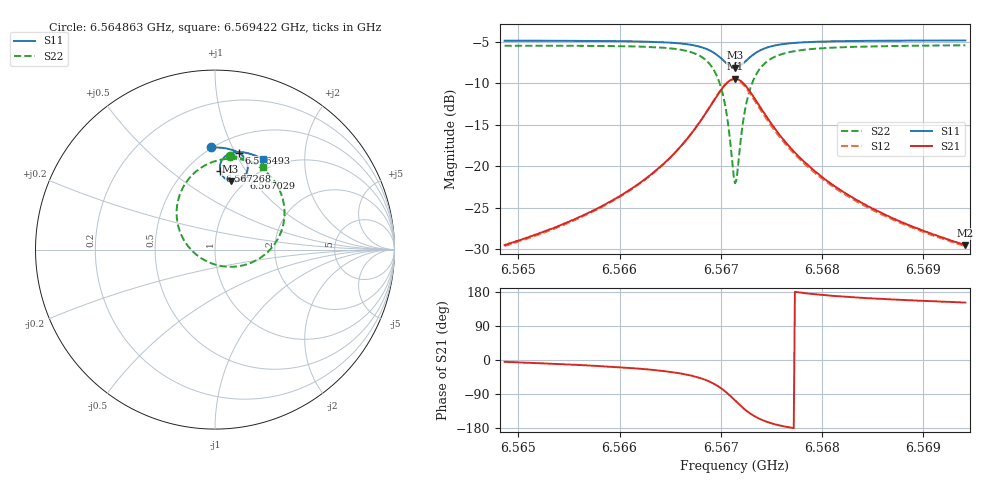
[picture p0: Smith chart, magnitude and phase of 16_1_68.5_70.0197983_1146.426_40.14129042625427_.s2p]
#  HZ  S  RI  R  50.00
! Rohde & Schwarz Vector Network Analyzer
! Rohde-Schwarz,ZNB20-2Port,1311601062101988,3.16
! Created: UTC 3/20/2024, 4:49:13 PM
! freq[Hz]  re:S11  im:S11  re:S21  im:S21  re:S12  im:S12  re:S22  im:S22
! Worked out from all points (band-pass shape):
!   401 points, 6.564863 GHz to 6.569422 GHz, reference 50 ohm
!   highest |S21| = -9.49 dB at 6.567142 GHz (marker M1); lowest = -29.5 dB at 6.569422 GHz (marker M2)
!   |S21| within 3 dB of the highest: 6.566914 GHz to 6.567371 GHz (456.1 kHz wide, 0.00694 % of centre)
!   lowest |S11| = -8.2 dB at 6.567142 GHz (marker M3), VSWR 2.28, Z = 43.3 + j38.9 ohm
!   |S11| at or under -10 dB: nowhere
!   |S22| runs from -22.1 to -5.5 dB; largest |S21 - S12| = 0.018
!   S11 on the Smith chart (normalised r, x): 6.564863 GHz: 0.49, +0.83; 6.566493 GHz: 0.67, +1.04; 6.567029 GHz: 0.94, +0.93; 6.567268 GHz: 0.71, +0.77; 6.569422 GHz: 0.86, +1.28
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6.5648634e9  -0.0219 0.5691  0.0333 -0.00282  0.0328 -0.00339  0.0838 0.5235
6.5656269e9  0.0432 0.5663  0.0486 -0.0116  0.0479 -0.0124  0.1641 0.5037
6.5660257e9  0.0811 0.5595  0.0633 -0.0226  0.0624 -0.0234  0.2185 0.4799
6.5663904e9  0.1211 0.5453  0.0864 -0.0454  0.085 -0.0465  0.2855 0.4329
6.5664929e9  0.134 0.5381  0.0954 -0.0575  0.0942 -0.0588  0.3092 0.409
6.5666981e9  0.1618 0.5139  0.1167 -0.0997  0.1148 -0.1019  0.362 0.3265
6.5668576e9  0.1807 0.4753  0.1256 -0.1683  0.1222 -0.1723  0.3872 0.1941
6.5669601e9  0.1788 0.4339  0.1037 -0.241  0.0964 -0.2461  0.3478 0.0555
6.5670285e9  0.1597 0.4022  0.0557 -0.295  0.0437 -0.299  0.2562 -0.0438
6.5670855e9  0.1279 0.3828  -0.0127 -0.3252  -0.0284 -0.3245  0.1272 -0.0935
6.5671197e9  0.1036 0.3791  -0.0626 -0.3278  -0.0791 -0.323  0.0363 -0.092
6.5671425e9  0.087 0.3812  -0.0963 -0.3214  -0.1122 -0.3135  -0.0232 -0.0754
6.5671653e9  0.0713 0.3868  -0.128 -0.3082  -0.1425 -0.2977  -0.0777 -0.0473
6.5672222e9  0.041 0.4129  -0.1884 -0.2544  -0.1972 -0.2396  -0.1757 0.0574
6.5672678e9  0.0295 0.4391  -0.2128 -0.2028  -0.2167 -0.1879  -0.2093 0.1517
6.567359e9  0.0322 0.4845  -0.2144 -0.1151  -0.2124 -0.1036  -0.1967 0.3048
6.5674957e9  0.0598 0.5221  -0.1771 -0.0426  -0.173 -0.0363  -0.1164 0.4261
6.5676553e9  0.092 0.5388  -0.1362 -0.00806  -0.1327 -0.00484  -0.0321 0.4808
6.567906e9  0.1311 0.5442  -0.0956 0.00971  -0.0932 0.0113  0.0565 0.5044
6.5682251e9  0.1684 0.5403  -0.0675 0.0157  -0.0657 0.0164  0.1272 0.5047
6.5686695e9  0.21 0.529  -0.0467 0.0168  -0.0456 0.0172  0.192 0.492
6.5694216e9  0.2691 0.5036  -0.0293 0.0159  -0.0288 0.016  0.2675 0.4621
